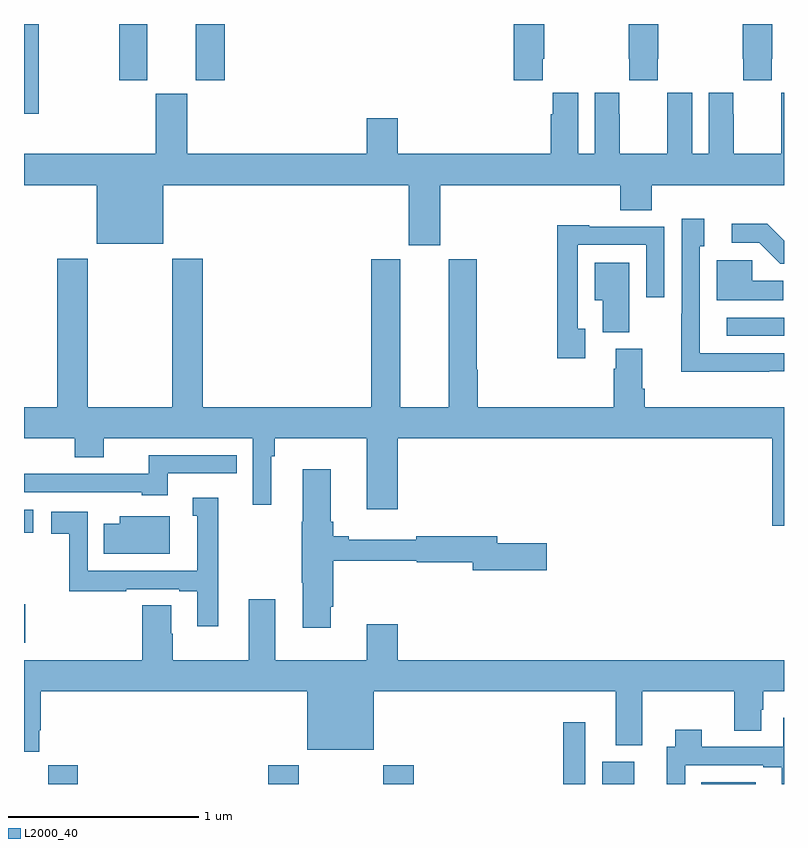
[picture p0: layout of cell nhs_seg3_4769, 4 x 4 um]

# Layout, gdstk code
import gdstk
lib = gdstk.Library(unit=1e-6, precision=1e-09)
def R(c, l, rs):  # rectangles x0, y0, x1, y1
    for r in rs: c.add(gdstk.rectangle(r[:2], r[2:], *l))
def P(c, l, *ps):  # polygons
    for p in ps: c.add(gdstk.Polygon(p, *l))
L2000_40 = (2000, 40)

nhs_seg3_4769 = lib.new_cell('nhs_seg3_4769')
R(nhs_seg3_4769, L2000_40, [(367.127,728.4,367.283,728.5), (368.285,728.4,368.445,728.5), (368.89,728.4,369.05,728.5), (369.838,728.4,369.954,728.725), (370.043,728.4,370.213,728.518), (370.564,728.4,370.852,728.409), (367,729.144,367.007,729.347), (367,729.723,367.048,729.844), (370.698,730.758,371,730.854), (367,731.927,367.078,732.4), (367.501,732.105,367.648,732.4), (367.904,732.105,368.057,732.4)])
P(nhs_seg3_4769, L2000_40, [(370.335,732.217),(370.338,732.217),(370.338,732.4),(370.183,732.4),(370.183,732.217),(370.185,732.217),(370.185,732.105),(370.335,732.105)],
  [(370.935,732.217),(370.938,732.217),(370.938,732.4),(370.783,732.4),(370.783,732.217),(370.785,732.217),(370.785,732.105),(370.935,732.105)],
  [(369.731,732.217),(369.738,732.217),(369.738,732.4),(369.578,732.4),(369.578,732.105),(369.731,732.105)],
  [(371,732.037),(370.986,732.037),(370.986,731.924),(370.985,731.924),(370.985,731.716),(370.735,731.716),(370.735,731.924),(370.734,731.924),(370.734,732.037),(370.604,732.037),(370.604,731.716),(370.516,731.716),(370.516,732.037),(370.386,732.037),(370.386,731.924),(370.385,731.924),(370.385,731.716),(370.135,731.716),(370.135,731.924),(370.134,731.924),(370.134,732.037),(370.004,732.037),(370.004,731.716),(369.916,731.716),(369.916,732.037),(369.782,732.037),(369.782,731.924),(369.773,731.924),(369.773,731.716),(368.968,731.716),(368.968,731.905),(368.804,731.905),(368.804,731.716),(367.858,731.716),(367.858,732.033),(367.694,732.033),(367.694,731.716),(367,731.716),(367,731.552),(367.382,731.552),(367.382,731.243),(367.732,731.243),(367.732,731.552),(369.026,731.552),(369.026,731.235),(369.19,731.235),(369.19,731.552),(370.139,731.552),(370.139,731.419),(370.304,731.419),(370.304,731.552),(371,731.552)],
  [(370.922,730.572),(371,730.572),(371,730.668),(370.557,730.668),(370.557,731.229),(370.579,731.229),(370.579,731.374),(370.461,731.374),(370.461,730.874),(370.46,730.874),(370.46,730.571),(370.922,730.571)],
  [(371,731.26),(370.912,731.348),(370.725,731.348),(370.725,731.25),(370.869,731.25),(370.98,731.139),(371,731.139)],
  [(369.955,730.797),(369.915,730.797),(369.915,731.238),(370.275,731.238),(370.275,730.962),(370.371,730.962),(370.371,731.334),(369.975,731.334),(369.975,731.341),(369.807,731.341),(369.807,730.641),(369.955,730.641)],
  [(371,730.384),(370.268,730.384),(370.268,730.48),(370.255,730.48),(370.255,730.692),(370.115,730.692),(370.115,730.586),(370.103,730.586),(370.103,730.384),(369.389,730.384),(369.389,730.58),(369.384,730.58),(369.384,731.163),(369.236,731.163),(369.236,730.384),(368.98,730.384),(368.98,731.163),(368.828,731.163),(368.828,730.384),(367.94,730.384),(367.94,731.164),(367.78,731.164),(367.78,730.384),(367.335,730.384),(367.335,731.164),(367.175,731.164),(367.175,730.384),(367,730.384),(367,730.22),(367.268,730.22),(367.268,730.121),(367.42,730.121),(367.42,730.22),(368.205,730.22),(368.205,729.87),(368.302,729.87),(368.302,730.124),(368.321,730.124),(368.321,730.22),(368.804,730.22),(368.804,729.846),(368.968,729.846),(368.968,730.22),(370.937,730.22),(370.937,729.759),(371,729.759)],
  [(370.996,731.05),(370.833,731.05),(370.833,731.157),(370.646,731.157),(370.646,730.946),(370.996,730.946)],
  [(370.186,731.143),(370.004,731.143),(370.004,730.946),(370.046,730.946),(370.046,730.777),(370.186,730.777)],
  [(367.756,730.035),(368.12,730.035),(368.12,730.131),(367.657,730.131),(367.657,730.032),(367.184,730.032),(367.184,730.034),(367,730.034),(367,729.936),(367.62,729.936),(367.62,729.92),(367.756,729.92)],
  [(368.614,729.334),(368.627,729.334),(368.627,729.576),(369.066,729.576),(369.066,729.568),(369.362,729.568),(369.362,729.526),(369.751,729.526),(369.751,729.668),(369.49,729.668),(369.49,729.704),(369.064,729.704),(369.064,729.685),(368.71,729.685),(368.71,729.704),(368.627,729.704),(368.627,729.781),(368.614,729.781),(368.614,730.057),(368.468,730.057),(368.468,729.781),(368.461,729.781),(368.461,729.46),(368.468,729.46),(368.468,729.222),(368.614,729.222)],
  [(368.023,729.907),(367.889,729.907),(367.889,729.813),(367.913,729.813),(367.913,729.522),(367.335,729.522),(367.335,729.834),(367.143,729.834),(367.143,729.718),(367.237,729.718),(367.237,729.414),(367.538,729.414),(367.538,729.426),(367.817,729.426),(367.817,729.414),(367.913,729.414),(367.913,729.231),(368.023,729.231)],
  [(367.768,729.808),(367.505,729.808),(367.505,729.769),(367.42,729.769),(367.42,729.611),(367.768,729.611)],
  [(367.081,728.683),(367.088,728.683),(367.088,728.888),(368.492,728.888),(368.492,728.579),(368.842,728.579),(368.842,728.888),(370.115,728.888),(370.115,728.603),(370.255,728.603),(370.255,728.888),(370.739,728.888),(370.739,728.68),(370.879,728.68),(370.879,728.79),(370.892,728.79),(370.892,728.888),(371,728.888),(371,729.052),(368.968,729.052),(368.968,729.241),(368.804,729.241),(368.804,729.052),(368.323,729.052),(368.323,729.373),(368.183,729.373),(368.183,729.052),(367.782,729.052),(367.782,729.191),(367.774,729.191),(367.774,729.341),(367.622,729.341),(367.622,729.052),(367,729.052),(367,728.571),(367.081,728.571)],
  [(370.479,728.499),(370.892,728.499),(370.892,728.487),(370.988,728.487),(370.988,728.4),(371,728.4),(371,728.749),(370.995,728.749),(370.995,728.595),(370.567,728.595),(370.567,728.686),(370.427,728.686),(370.427,728.595),(370.382,728.595),(370.382,728.4),(370.479,728.4)])

lib.write_gds('nhs_seg3_4769.gds')
